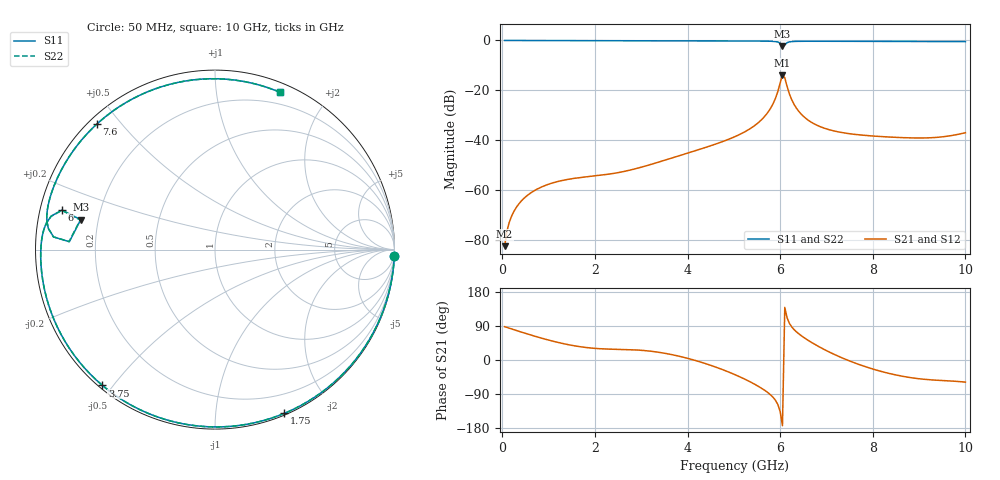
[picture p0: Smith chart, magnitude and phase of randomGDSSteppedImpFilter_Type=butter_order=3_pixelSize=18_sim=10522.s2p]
! freq	dB(S11)	phase(S11)	dB(S12)	phase(S12)
!  dB(S21)	phase(S21)	dB(S22)	phase(S22)
!S-par simulation data
#  GHz  S  DB  R 50
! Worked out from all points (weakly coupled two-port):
!   200 points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, 50 MHz to 10 GHz, reference 50 ohm
!   highest |S21| = -13.86 dB at 6.05 GHz (marker M1); lowest = -82.3 dB at 50 MHz (marker M2)
!   lowest |S11| = -2.3 dB at 6.05 GHz (marker M3), VSWR 7.57, Z = 6.69 + j5.39 ohm
!   |S11| at or under -10 dB: nowhere
!   |S22| runs from -2.3 to 0.0 dB; largest |S21 - S12| = 0
!   S11 on the Smith chart (normalised r, x): 50 MHz: 0, -57; 1.75 GHz: 0.02, -1.51; 3.75 GHz: 0.01, -0.47; 6 GHz: 0.06, +0.13; 7.6 GHz: 0.02, +0.43; 10 GHz: 0.09, +1.49
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0.05  -0.00 -2.0  -82.27 88.0  -82.27 88.0  -0.00 -2.0
0.15  -0.01 -6.0  -72.76 83.9  -72.76 83.9  -0.01 -6.0
0.25  -0.02 -10.0  -68.38 80.0  -68.38 80.0  -0.02 -10.0
0.55  -0.03 -21.9  -61.84 68.4  -61.84 68.4  -0.03 -21.9
1.05  -0.05 -41.3  -57.19 50.9  -57.19 50.9  -0.05 -41.3
1.75  -0.08 -67.0  -54.68 33.9  -54.68 33.9  -0.08 -67.0
2.55  -0.11 -93.9  -52.69 28.0  -52.69 28.0  -0.11 -93.9
3.4  -0.14 -119.7  -48.51 19.9  -48.51 19.9  -0.14 -119.7
3.75  -0.15 -129.7  -46.51 11.9  -46.51 11.9  -0.15 -129.6
5.05  -0.21 -164.3  -38.25 -40.1  -38.25 -40.1  -0.21 -164.3
5.7  -0.28 178.1  -29.61 -82.9  -29.61 -82.9  -0.27 178.2
5.85  -0.36 173.1  -25.19 -98.8  -25.19 -98.8  -0.36 173.2
6  -1.11 165.5  -17.02 -136.1  -17.02 -136.1  -1.10 165.6
6.05  -2.31 167.5  -13.86 -173.3  -13.86 -173.3  -2.28 167.6
6.1  -1.80 176.9  -14.92 138.8  -14.92 138.8  -1.78 176.9
6.2  -0.57 172.7  -21.41 96.6  -21.41 96.6  -0.57 172.7
6.35  -0.36 166.8  -27.05 74.5  -27.05 74.5  -0.36 166.8
6.7  -0.31 156.7  -33.00 44.8  -33.00 44.8  -0.31 156.7
7.6  -0.35 133.3  -37.54 -7.3  -37.54 -7.3  -0.35 133.4
8.35  -0.39 113.6  -38.62 -35.4  -38.62 -35.4  -0.39 113.6
9.2  -0.43 90.3  -38.95 -51.9  -38.95 -51.9  -0.43 90.4
10  -0.46 67.6  -36.91 -58.4  -36.91 -58.4  -0.46 67.6
